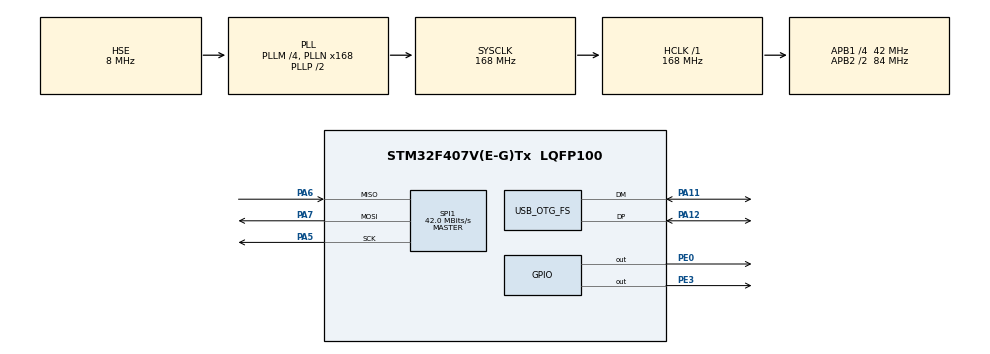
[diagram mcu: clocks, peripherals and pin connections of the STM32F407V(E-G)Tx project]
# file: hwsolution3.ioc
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EdgeImpulse.gsahinp-project-1.1.0.1.MachineLearningCcgsahinpAaprojectAa1JjCore=true
Mcu.Family=STM32F4
Mcu.Name=STM32F407V(E-G)Tx
Mcu.Package=LQFP100
NVIC.OTG_FS_IRQn=true\:0\:0\:false\:false\:true\:false\:true\:true
NVIC.PriorityGroup=NVIC_PRIORITYGROUP_4
PA11.Mode=Device_Only
PA11.Signal=USB_OTG_FS_DM
PA12.Mode=Device_Only
PA12.Signal=USB_OTG_FS_DP
PA13.Mode=Trace_Asynchronous_SW
PA13.Signal=SYS_JTMS-SWDIO
PA14.Mode=Trace_Asynchronous_SW
PA14.Signal=SYS_JTCK-SWCLK
PA5.Mode=Full_Duplex_Master
PA5.Signal=SPI1_SCK
PA6.Mode=Full_Duplex_Master
PA6.Signal=SPI1_MISO
PA7.Mode=Full_Duplex_Master
PA7.Signal=SPI1_MOSI
PB3.Mode=Trace_Asynchronous_SW
PB3.Signal=SYS_JTDO-SWO
PE0.Signal=GPIO_Output
PE3.Signal=GPIO_Output
PH0-OSC_IN.Mode=HSE-External-Oscillator
PH0-OSC_IN.Signal=RCC_OSC_IN
PH1-OSC_OUT.Mode=HSE-External-Oscillator
PH1-OSC_OUT.Signal=RCC_OSC_OUT
ProjectManager.HeapSize=0x200
ProjectManager.StackSize=0x400
ProjectManager.TargetToolchain=STM32CubeIDE
RCC.48MHZClocksFreq_Value=48000000
RCC.AHBFreq_Value=168000000
RCC.APB1CLKDivider=RCC_HCLK_DIV4
RCC.APB1Freq_Value=42000000
RCC.APB1TimFreq_Value=84000000
RCC.APB2CLKDivider=RCC_HCLK_DIV2
RCC.APB2Freq_Value=84000000
RCC.APB2TimFreq_Value=168000000
RCC.CortexFreq_Value=168000000
RCC.HCLKFreq_Value=168000000
RCC.HSE_VALUE=8000000
RCC.HSI_VALUE=16000000
RCC.LSE_VALUE=32768
RCC.PLLM=4
RCC.PLLN=168
RCC.PLLQ=7
RCC.SYSCLKFreq_VALUE=168000000
RCC.SYSCLKSource=RCC_SYSCLKSOURCE_PLLCLK
RCC.VCOOutputFreq_Value=336000000
SPI1.CalculateBaudRate=42.0 MBits/s
SPI1.Direction=SPI_DIRECTION_2LINES
SPI1.Mode=SPI_MODE_MASTER
SPI1.VirtualType=VM_MASTER
USB_DEVICE.CLASS_NAME_FS=CDC
USB_DEVICE.VirtualMode-CDC_FS=Cdc
USB_DEVICE.VirtualModeFS=Cdc_FS
USB_OTG_FS.VirtualMode=Device_Only
VP_CRC_VS_CRC.Mode=CRC_Activate
VP_EdgeImpulse.gsahinp-project-1_VS_gsahinpAaprojectAa1JjMachineLearning_1.0.1_1.0.1.Mode=gsahinpAaprojectAa1JjMachineLearning
VP_USB_DEVICE_VS_USB_DEVICE_CDC_FS.Mode=CDC_FS
board=custom

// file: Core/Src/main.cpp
/* USER CODE BEGIN Header */
/**
  ******************************************************************************
  * @file           : main.c
  * @brief          : Main program body
  ******************************************************************************
  * @attention
  *
  * Copyright (c) 2022 STMicroelectronics.
  * All rights reserved.
  *
  * This software is licensed under terms that can be found in the LICENSE file
  * in the root directory of this software component.
  * If no LICENSE file comes with this software, it is provided AS-IS.
  *
  ******************************************************************************
  */
/* USER CODE END Header */
#include "main.h"
#include "usb_device.h"

/* USER CODE BEGIN Includes */
#include "usbd_cdc_if.h"
#include "string.h"
#include "MY_LIS3DSH.h"
#include <stdio.h>
/* USER CODE END Includes */
#include <stdarg.h>
#include "edge-impulse-sdk/classifier/ei_run_classifier.h"

#define DATA_SIZE 1000
 char  recivebuffer[64];
static int64_t sampling_freq = EI_CLASSIFIER_FREQUENCY; // in Hz.
static int64_t time_between_samples_us = (1000000 / (sampling_freq - 1));

static float features[EI_CLASSIFIER_DSP_INPUT_FRAME_SIZE];
float cvalue[300];
using namespace ei;
int get_feature_data(size_t offset, size_t length, float *out_ptr) {
    memcpy(out_ptr, features + offset, length * sizeof(float));
    return 0;
}
void vprint(const char *fmt, va_list argp)
{
    char string[200];
    if(0 < vsprintf(string, fmt, argp)) // build string
    {
        //HAL_UART_Transmit(&huart1, (uint8_t*)string, strlen(string), 0xffffff); // send message via UART
    	CDC_Transmit_FS((uint8_t *) string, strlen(string));
    }
}

void ei_printf(const char *format, ...) {
    va_list myargs;
    va_start(myargs, format);
    vprint(format, myargs);
    va_end(myargs);
}
/* USER CODE BEGIN PTD */

LIS3DSH_InitTypeDef myAccConfigDef;
/* USER CODE END PTD */

 CRC_HandleTypeDef hcrc;

SPI_HandleTypeDef hspi1;

void SystemClock_Config(void);
static void MX_GPIO_Init(void);
static void MX_SPI1_Init(void);
static void MX_CRC_Init(void);

int main(void)
{

  /* MCU Configuration--------------------------------------------------------*/

  /* Reset of all peripherals, Initializes the Flash interface and the Systick. */
  HAL_Init();

  /* Configure the system clock */
  SystemClock_Config();

  /* Initialize all configured peripherals */
  MX_GPIO_Init();
  MX_USB_DEVICE_Init();
  MX_SPI1_Init();
  MX_CRC_Init();
  /* USER CODE BEGIN 2 */
  myAccConfigDef.dataRate = LIS3DSH_DATARATE_25;
  	myAccConfigDef.fullScale = LIS3DSH_FULLSCALE_4;
  	myAccConfigDef.antiAliasingBW = LIS3DSH_FILTER_BW_50;//update rate
  	myAccConfigDef.enableAxes = LIS3DSH_XYZ_ENABLE;
  	myAccConfigDef.interruptEnable = false;
  	LIS3DSH_Init(&hspi1, &myAccConfigDef);
  	LIS3DSH_DataScaled myData;
  /* USER CODE END 2 */

  /* Infinite loop */
  /* USER CODE BEGIN WHILE */
  while (1)
  {
	  for (size_t ix = 0; ix < EI_CLASSIFIER_DSP_INPUT_FRAME_SIZE; ix += EI_CLASSIFIER_RAW_SAMPLES_PER_FRAME)
	  {
		  if(LIS3DSH_PollDRDY(1000) == true)
		 	    {
		 	  	myData = LIS3DSH_GetDataScaled();

		 	    features[ix + 0] = myData.x;
		 	    features[ix + 1] = myData.y;
		 	    features[ix + 2] = myData.z;
		 	    }//if
	  }//for

	  ei_impulse_result_t result = { 0 };
	       signal_t signal;
	       numpy::signal_from_buffer(features, EI_CLASSIFIER_DSP_INPUT_FRAME_SIZE, &signal);
	       // run classifier
	            EI_IMPULSE_ERROR res = run_classifier(&signal, &result, false);
	            ei_printf("run_classifier returned: %d\n", res);
	            if (res != 0) return 1;

	            // print predictions
	            ei_printf("Predictions (DSP: %d ms., Classification: %d ms., Anomaly: %d ms.): \n",
	                result.timing.dsp, result.timing.classification, result.timing.anomaly);

	            // print the predictions
	           for (size_t ix = 0; ix < EI_CLASSIFIER_LABEL_COUNT; ix++) {
	                cvalue[ix] = result.classification[ix].value;
	          	  ei_printf("%s:\t%f\n", result.classification[ix].label, cvalue[ix]);
	            }
	         //  HAL_Delay(500);

    /* USER CODE END WHILE */

    /* USER CODE BEGIN 3 */

  }//while
  /* USER CODE END 3 */
}//main

void SystemClock_Config(void)
{
  RCC_OscInitTypeDef RCC_OscInitStruct = {0};
  RCC_ClkInitTypeDef RCC_ClkInitStruct = {0};

  /** Configure the main internal regulator output voltage
  */
  __HAL_RCC_PWR_CLK_ENABLE();
  __HAL_PWR_VOLTAGESCALING_CONFIG(PWR_REGULATOR_VOLTAGE_SCALE1);

  /** Initializes the RCC Oscillators according to the specified parameters
  * in the RCC_OscInitTypeDef structure.
  */
  RCC_OscInitStruct.OscillatorType = RCC_OSCILLATORTYPE_HSE;
  RCC_OscInitStruct.HSEState = RCC_HSE_ON;
  RCC_OscInitStruct.PLL.PLLState = RCC_PLL_ON;
  RCC_OscInitStruct.PLL.PLLSource = RCC_PLLSOURCE_HSE;
  RCC_OscInitStruct.PLL.PLLM = 4;
  RCC_OscInitStruct.PLL.PLLN = 168;
  RCC_OscInitStruct.PLL.PLLP = RCC_PLLP_DIV2;
  RCC_OscInitStruct.PLL.PLLQ = 7;
  if (HAL_RCC_OscConfig(&RCC_OscInitStruct) != HAL_OK)
  {
    Error_Handler();
  }

  /** Initializes the CPU, AHB and APB buses clocks
  */
  RCC_ClkInitStruct.ClockType = RCC_CLOCKTYPE_HCLK|RCC_CLOCKTYPE_SYSCLK
                              |RCC_CLOCKTYPE_PCLK1|RCC_CLOCKTYPE_PCLK2;
  RCC_ClkInitStruct.SYSCLKSource = RCC_SYSCLKSOURCE_PLLCLK;
  RCC_ClkInitStruct.AHBCLKDivider = RCC_SYSCLK_DIV1;
  RCC_ClkInitStruct.APB1CLKDivider = RCC_HCLK_DIV4;
  RCC_ClkInitStruct.APB2CLKDivider = RCC_HCLK_DIV2;

  if (HAL_RCC_ClockConfig(&RCC_ClkInitStruct, FLASH_LATENCY_5) != HAL_OK)
  {
    Error_Handler();
  }
}

static void MX_CRC_Init(void)
{

  hcrc.Instance = CRC;
  if (HAL_CRC_Init(&hcrc) != HAL_OK)
  {
    Error_Handler();
  }

}

static void MX_SPI1_Init(void)
{

  /* SPI1 parameter configuration*/
  hspi1.Instance = SPI1;
  hspi1.Init.Mode = SPI_MODE_MASTER;
  hspi1.Init.Direction = SPI_DIRECTION_2LINES;
  hspi1.Init.DataSize = SPI_DATASIZE_8BIT;
  hspi1.Init.CLKPolarity = SPI_POLARITY_LOW;
  hspi1.Init.CLKPhase = SPI_PHASE_1EDGE;
  hspi1.Init.NSS = SPI_NSS_SOFT;
  hspi1.Init.BaudRatePrescaler = SPI_BAUDRATEPRESCALER_2;
  hspi1.Init.FirstBit = SPI_FIRSTBIT_MSB;
  hspi1.Init.TIMode = SPI_TIMODE_DISABLE;
  hspi1.Init.CRCCalculation = SPI_CRCCALCULATION_DISABLE;
  hspi1.Init.CRCPolynomial = 10;
  if (HAL_SPI_Init(&hspi1) != HAL_OK)
  {
    Error_Handler();
  }

}

static void MX_GPIO_Init(void)
{
  GPIO_InitTypeDef GPIO_InitStruct = {0};

  /* GPIO Ports Clock Enable */
  __HAL_RCC_GPIOE_CLK_ENABLE();
  __HAL_RCC_GPIOH_CLK_ENABLE();
  __HAL_RCC_GPIOA_CLK_ENABLE();
  __HAL_RCC_GPIOB_CLK_ENABLE();

  /*Configure GPIO pin Output Level */
  HAL_GPIO_WritePin(GPIOE, GPIO_PIN_3|GPIO_PIN_0, GPIO_PIN_RESET);

  /*Configure GPIO pins : PE3 PE0 */
  GPIO_InitStruct.Pin = GPIO_PIN_3|GPIO_PIN_0;
  GPIO_InitStruct.Mode = GPIO_MODE_OUTPUT_PP;
  GPIO_InitStruct.Pull = GPIO_NOPULL;
  GPIO_InitStruct.Speed = GPIO_SPEED_FREQ_LOW;
  HAL_GPIO_Init(GPIOE, &GPIO_InitStruct);

}

void Error_Handler(void)
{
  __disable_irq();
  while (1)
  {
  }
}
